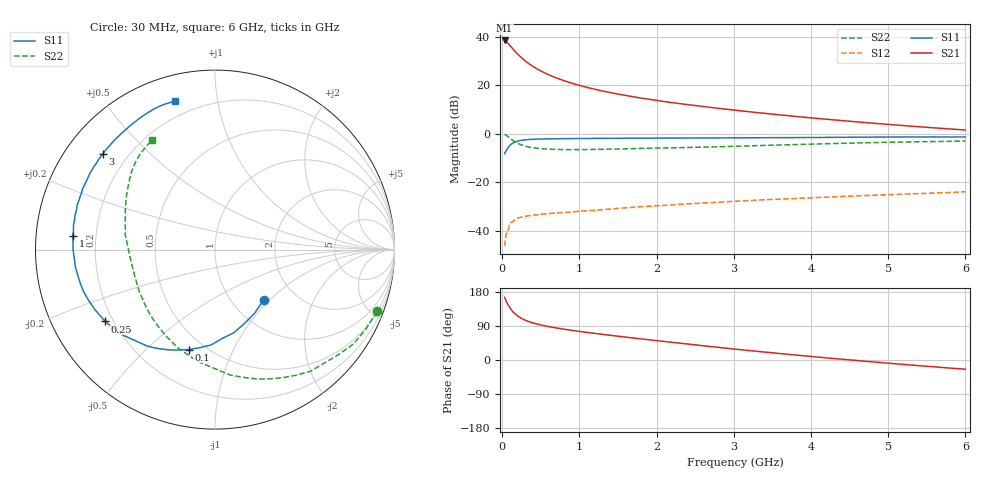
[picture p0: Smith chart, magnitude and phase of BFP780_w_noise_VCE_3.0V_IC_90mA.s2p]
! Infineon Technologies  Discrete & RF Semiconductors
! BFP780
! VCE =  3.0 V,  IC =  90 mA
! Common Emitter S-Parameters:  Jul 2015
# GHz  S  MA  R  50
!  f  S11  S21  S12  S22
! GHz  MAG  ANG  MAG  ANG  MAG  ANG  MAG  ANG
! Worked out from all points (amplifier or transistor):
!   75 points, 30 MHz to 6 GHz, reference 50 ohm
!   highest |S21| = 38.4 dB at 30 MHz (marker M1)
!   |S21| within 3 dB of that: start of sweep to 124 MHz
!   unconditionally stable (mu >= 1): 1.754 GHz to end of sweep
!   at 150 MHz: K = 0.15, MSG = 35.1 dB, |S12| = -35.8 dB
!   at 2.3 GHz: K = 1.12, MAG = 18.7 dB, |S12| = -29.1 dB
!   at 6 GHz: K = 1.26, MAG = 9.7 dB, |S12| = -24.0 dB
!   lowest NFmin = 1.94 dB at 450 MHz
!   S11 on the Smith chart (normalised r, x): 30 MHz: 1.39, -0.92; 100 MHz: 0.41, -0.68; 250 MHz: 0.17, -0.29; 1 GHz: 0.11, +0.05; 3 GHz: 0.11, +0.36; 6 GHz: 0.12, +0.76
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0.03  0.3894 -45.9  83.59 165.3  0.0048 78.3  0.9664 -20.9
0.05  0.4433 -68.3  79.33 155.8  0.0085 69.3  0.9334 -34.3
0.06  0.4756 -77.4  76.81 151.7  0.0092 64.7  0.9023 -40.6
0.08  0.5314 -92.3  71.31 143.9  0.0109 66.8  0.8619 -51.9
0.1  0.576 -104.8  65.56 137.4  0.0136 53.6  0.8063 -62.3
0.12  0.6137 -114.4  60.19 131.7  0.015 48.7  0.7607 -71.5
0.15  0.6573 -125.3  53.06 124.8  0.0163 42.1  0.7029 -83.2
0.2  0.7047 -138.0  43.56 116.1  0.0181 36.9  0.6308 -98.8
0.25  0.7311 -146.8  36.65 109.7  0.0191 32.4  0.585 -110.8
0.3  0.748 -153.4  31.35 104.8  0.0198 30.9  0.5509 -120.4
0.35  0.7596 -158.4  27.33 100.9  0.0205 28.0  0.5281 -128.1
0.5  0.7764 -168.4  19.59 92.5  0.0219 25.7  0.4915 -144.0
0.7  0.7856 -176.9  14.12 84.5  0.0233 25.2  0.4735 -157.1
1  0.7958 174.5  9.907 75.4  0.0253 26.5  0.4712 -169.0
1.1  0.7959 172.1  8.987 72.7  0.0258 27.0  0.4712 -172.1
1.5  0.8028 164.1  6.558 62.8  0.0288 28.4  0.4834 178.9
2.1  0.8118 153.7  4.601 48.9  0.0332 28.9  0.5077 169.1
3  0.8223 139.5  3.072 29.0  0.0404 27.6  0.5496 155.2
3.1  0.8234 138.1  2.951 27.0  0.0411 27.0  0.5554 153.7
4.1  0.8367 124.2  2.053 7.5  0.0485 23.5  0.6149 140.8
5.1  0.8546 113.1  1.513 -10.0  0.0559 18.5  0.6688 129.7
6  0.8567 105.1  1.192 -24.4  0.0633 13.1  0.7042 119.7
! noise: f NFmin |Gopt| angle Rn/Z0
0.45  1.94  0.53  -179  0.08
0.9  1.99  0.54  -166  0.09
1.5  2.05  0.55  -159  0.1
1.8  2.22  0.56  -153  0.12
2.4  2.35  0.59  -144  0.18
3  2.63  0.6  -134  0.25
3.5  3.11  0.63  -123  0.4
